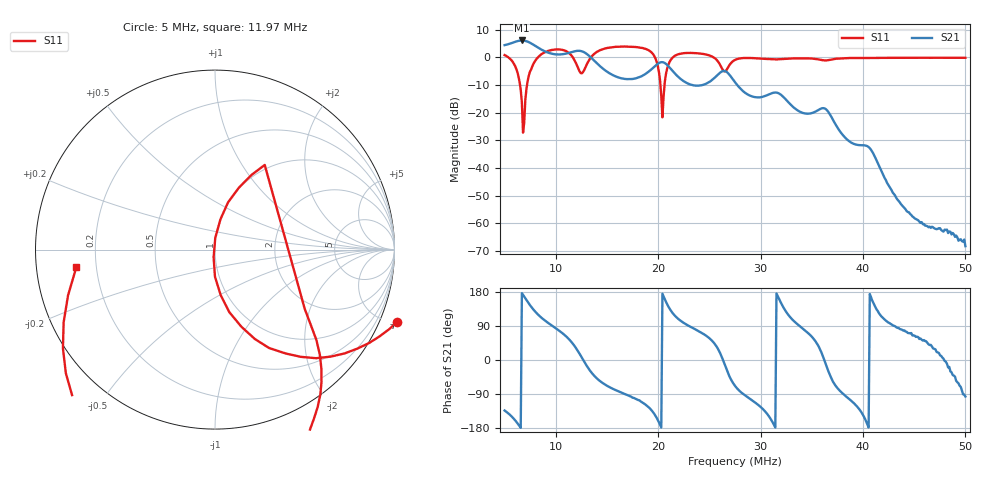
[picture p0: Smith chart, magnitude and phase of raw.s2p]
! S11/S21 only; reverse parameters are placeholders. Device calibration unverified.
! NanoVNA F V2 profile | COM3 | 2026-09-08T11:35:20.5658791-04:00 | device calibration unverified
# HZ S RI R 50
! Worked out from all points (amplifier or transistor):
!   401 points, 5 MHz to 50 MHz, reference 50 ohm
!   highest |S21| = 6.1 dB at 6.688 MHz (marker M1)
!   |S21| within 3 dB of that: start of sweep to 8.453 MHz
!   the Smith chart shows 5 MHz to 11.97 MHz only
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5000000  1.016 -0.4017  -1.134 -1.203  0 0  0 0
6125000  0.3013 -0.5484  -1.832 -0.5829  0 0  0 0
6687500  -0.000169 -0.151  -2.004 0.1262  0 0  0 0
7250000  0.1328 0.3449  -1.712 0.8549  0 0  0 0
7925000  0.5841 -0.5852  -1.039 1.259  0 0  0 0
1.02875e7  -0.1647 -1.377  0.2301 1.098  0 0  0 0
1.16375e7  -0.8472 -0.5498  0.9026 0.8658  0 0  0 0
1.25375e7  -0.1606 0.4858  1.272 0.1439  0 0  0 0
1.355e7  1.034 0.2179  0.7666 -0.5438  0 0  0 0
1.49e7  1.344 -0.5477  0.2254 -0.5173  0 0  0 0
1.88375e7  0.5692 -1.278  -0.2508 -0.4448  0 0  0 0
2.0075e7  -0.2633 -0.4711  -0.7578 -0.2095  0 0  0 0
2.04125e7  -0.0596 0.0565  -0.8109 0.0739  0 0  0 0
2.075e7  0.393 0.2902  -0.6836 0.3326  0 0  0 0
2.1875e7  1.111 -0.1181  -0.159 0.4277  0 0  0 0
2.525e7  0.7806 -0.6763  0.2436 0.3009  0 0  0 0
2.6375e7  0.4585 -0.3327  0.564 -0.0329  0 0  0 0
2.75e7  0.8666 -0.2105  0.1307 -0.328  0 0  0 0
3.50375e7  0.6478 -0.6896  0.0487 0.0856  0 0  0 0
4.055e7  0.5124 -0.8213  -0.0238 -0.000816  0 0  0 0
4.2575e7  0.4423 -0.8705  -0.00061 0.00457  0 0  0 0
5e7  0.1609 -0.9625  -4.3e-05 -0.000384  0 0  0 0
